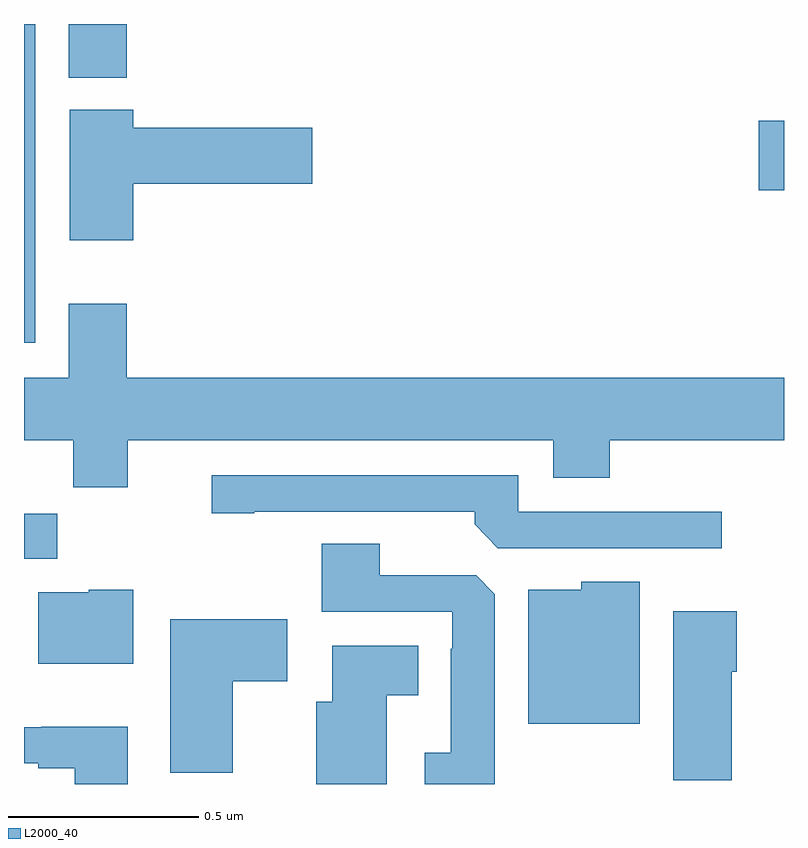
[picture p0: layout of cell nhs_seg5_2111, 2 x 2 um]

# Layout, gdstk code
import gdstk
lib = gdstk.Library(unit=1e-6, precision=1e-09)
def R(c, l, rs):  # rectangles x0, y0, x1, y1
    for r in rs: c.add(gdstk.rectangle(r[:2], r[2:], *l))
def P(c, l, *ps):  # polygons
    for p in ps: c.add(gdstk.Polygon(p, *l))
L2000_40 = (2000, 40)

nhs_seg5_2111 = lib.new_cell('nhs_seg5_2111')
R(nhs_seg5_2111, L2000_40, [(139,912.392,139.088,912.51), (139,912.96,139.029,913.799), (140.934,913.361,141,913.544), (139.118,913.658,139.271,913.799)])
P(nhs_seg5_2111, L2000_40, [(139.288,913.379),(139.759,913.379),(139.759,913.526),(139.288,913.526),(139.288,913.573),(139.121,913.573),(139.121,913.23),(139.288,913.23)],
  [(139.273,912.704),(140.393,912.704),(140.393,912.605),(140.541,912.605),(140.541,912.704),(141,912.704),(141,912.868),(139.271,912.868),(139.271,913.063),(139.118,913.063),(139.118,912.868),(139,912.868),(139,912.704),(139.129,912.704),(139.129,912.58),(139.273,912.58)],
  [(140.836,912.516),(140.301,912.516),(140.301,912.612),(139.494,912.612),(139.494,912.511),(139.606,912.511),(139.606,912.516),(140.186,912.516),(140.186,912.482),(140.247,912.42),(140.836,912.42)],
  [(140.239,912.299),(140.19,912.348),(139.936,912.348),(139.936,912.431),(139.784,912.431),(139.784,912.252),(140.127,912.252),(140.127,912.155),(140.123,912.155),(140.123,911.881),(140.054,911.881),(140.054,911.799),(140.239,911.799)],
  [(140.62,912.331),(140.466,912.331),(140.466,912.31),(140.327,912.31),(140.327,911.957),(140.62,911.957)],
  [(139.288,912.31),(139.17,912.31),(139.17,912.304),(139.037,912.304),(139.037,912.116),(139.288,912.116)],
  [(140.863,912.095),(140.876,912.095),(140.876,912.253),(140.708,912.253),(140.708,911.809),(140.863,911.809)],
  [(139.549,912.07),(139.693,912.07),(139.693,912.232),(139.385,912.232),(139.385,911.829),(139.549,911.829)],
  [(139.954,912.032),(140.038,912.032),(140.038,912.163),(139.811,912.163),(139.811,912.016),(139.769,912.016),(139.769,911.799),(139.954,911.799)],
  [(139.273,911.95),(139.045,911.95),(139.045,911.949),(139,911.949),(139,911.853),(139.037,911.853),(139.037,911.841),(139.133,911.841),(139.133,911.799),(139.273,911.799)])

lib.write_gds('nhs_seg5_2111.gds')
